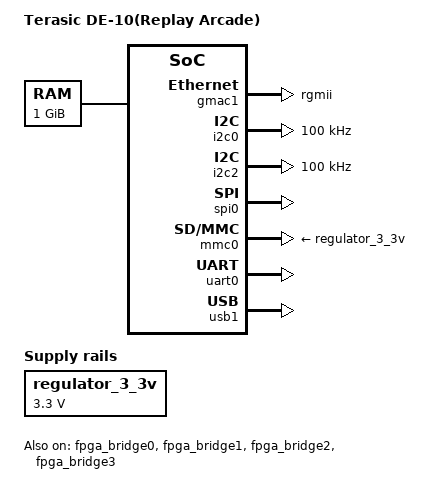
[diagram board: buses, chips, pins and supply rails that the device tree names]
// SPDX-License-Identifier: GPL-2.0
/*
 * Copyright Altera Corporation (C) 2015. All rights reserved.
 */

#include "socfpga_cyclone5.dtsi"

/ {
	model = "Terasic DE-10(Replay Arcade)";
	compatible = "terasic,de10-replay", "altr,socfpga-cyclone5", "altr,socfpga";

	chosen {
		bootargs = "earlyprintk";
		stdout-path = "serial0:115200n8";
	};

	memory@0 {
		name = "memory";
		device_type = "memory";
		reg = <0x0 0x40000000>; /* 1GB */
	};

	aliases {
		ethernet0 = &gmac1;
	};

	regulator_3_3v: 3-3-v-regulator {
		compatible = "regulator-fixed";
		regulator-name = "3.3V";
		regulator-min-microvolt = <3300000>;
		regulator-max-microvolt = <3300000>;
	};

	soc {

		fpga_bridge0: fpga_bridge@ff400000 {
			compatible = "altr,socfpga-lwhps2fpga-bridge";
			reg = <0xff400000 0x100000>;
			resets = <&rst LWHPS2FPGA_RESET>;
			clocks = <&l4_main_clk>;
			status = "disabled";
		};

		fpga_bridge1: fpga_bridge@ff500000 {
			compatible = "altr,socfpga-hps2fpga-bridge";
			reg = <0xff500000 0x10000>;
			resets = <&rst HPS2FPGA_RESET>;
			clocks = <&l4_main_clk>;
			status = "disabled";
		};

		fpga_bridge2: fpga-bridge@ff600000 {
			compatible = "altr,socfpga-fpga2hps-bridge";
			reg = <0xff600000 0x100000>;
			resets = <&rst FPGA2HPS_RESET>;
			clocks = <&l4_main_clk>;
			status = "disabled";
		};

		fpga_bridge3: fpga-bridge@ffc25080 {
			compatible = "altr,socfpga-fpga2sdram-bridge";
			reg = <0xffc25080 0x4>;
			status = "disabled";
		};
	};
};

&gmac1 {
	status = "okay";
	phy-mode = "rgmii";

	txd0-skew-ps = <0>; /* -420ps */
	txd1-skew-ps = <0>; /* -420ps */
	txd2-skew-ps = <0>; /* -420ps */
	txd3-skew-ps = <0>; /* -420ps */
	rxd0-skew-ps = <420>; /* 0ps */
	rxd1-skew-ps = <420>; /* 0ps */
	rxd2-skew-ps = <420>; /* 0ps */
	rxd3-skew-ps = <420>; /* 0ps */
	txen-skew-ps = <0>; /* -420ps */
	txc-skew-ps = <1860>; /* 960ps */
	rxdv-skew-ps = <420>; /* 0ps */
	rxc-skew-ps = <1680>; /* 780ps */

	max-frame-size = <3800>;
};

&gpio0 {
	status = "okay";
};

&gpio1 {
	status = "okay";
};

&gpio2 {
	status = "okay";
};

&i2c0 {
	status = "okay";
	clock-frequency = <100000>;
};

&i2c2 {
	status = "okay";
	clock-frequency = <100000>;
};

&spi0 {
    status = "okay";
};

&mmc0 {
	vmmc-supply = <&regulator_3_3v>;
	vqmmc-supply = <&regulator_3_3v>;
	status = "okay";
};

&uart0 {
	status = "okay";
};

&usb1 {
	status = "okay";
};

&fpga_bridge0 {
  status = "okay";
  bridge-enable = <1>;
};

&fpga_bridge1 {
  status = "okay";
  bridge-enable = <1>;
};

&fpga_bridge2 {
  status = "okay";
  bridge-enable = <1>;
};

&fpga_bridge3 {
  status = "okay";
  bridge-enable = <1>;
};
